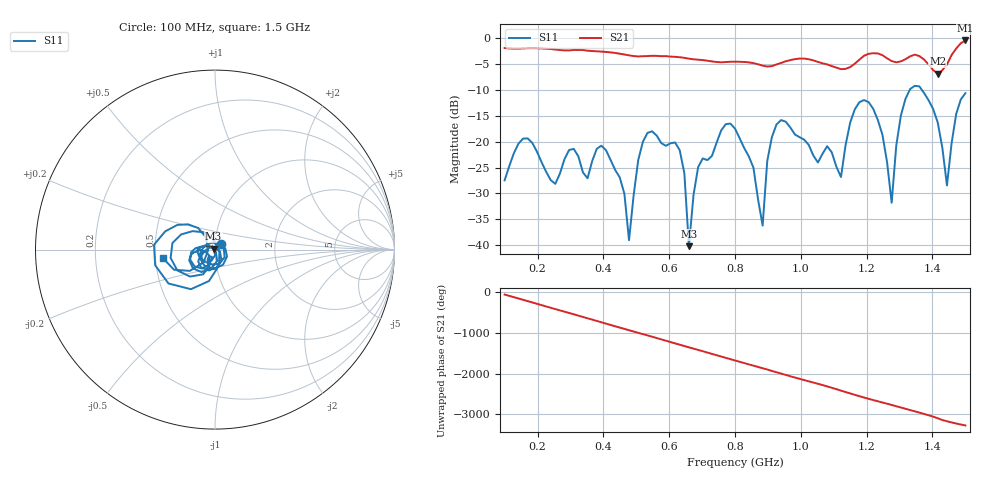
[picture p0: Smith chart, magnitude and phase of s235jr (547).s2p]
! NanoVNA-App
! Date: 2025-09-25 15:08:25
! Start: 100MHz Stop: 1,5GHz Points: 101
! S-Parameter data: F S11 S21 S12 S22
# Hz S RI R 50
!  Frequency  S11_Real  S11_Imag  S21_Real  S21_Imag  S12_Real  S12_Imag  S22_Real  S22_Imag
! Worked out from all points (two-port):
!   101 points, 100 MHz to 1.5 GHz, reference 50 ohm
!   highest |S21| = -0.50 dB at 1.5 GHz (marker M1); lowest = -6.9 dB at 1.416 GHz (marker M2)
!   |S21| within 3 dB of the highest: start of sweep to 491.7 MHz; 1.191 GHz to 1.252 GHz (60.65 MHz wide, 4.97 % of centre) (the widest 2 of 5)
!   lowest |S11| = -40.2 dB at 660 MHz (marker M3), VSWR 1.02, Z = 49.2 + j0.555 ohm
!   |S11| at or under -10 dB: start of sweep to 1.331 GHz; 1.367 GHz to end of sweep
!   S12 and S22 are empty: the file has one direction only
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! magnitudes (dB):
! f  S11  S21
! 100 MHz  -27.5  -2.0
! 156 MHz  -19.4  -2.0
! 338 MHz  -25.9  -2.4
! 408 MHz  -21.7  -2.7
! 478 MHz  -39.0  -3.4
! 520 MHz  -20.1  -3.5
! 576 MHz  -20.3  -3.5
! 632 MHz  -21.7  -3.7
! 660 MHz  -40.2  -4.0
! 688 MHz  -24.9  -4.2
! 800 MHz  -17.5  -4.6
! 884 MHz  -36.2  -5.4
! 898 MHz  -23.7  -5.5
! 926 MHz  -16.7  -5.1
! 1.038 GHz  -22.7  -4.3
! 1.122 GHz  -26.8  -6.0
! 1.206 GHz  -12.4  -3.1
! 1.276 GHz  -31.8  -4.5
! 1.332 GHz  -9.9  -3.6
! 1.416 GHz  -16.3  -6.9
! 1.444 GHz  -28.4  -5.1
! 1.5 GHz  -10.7  -0.5
